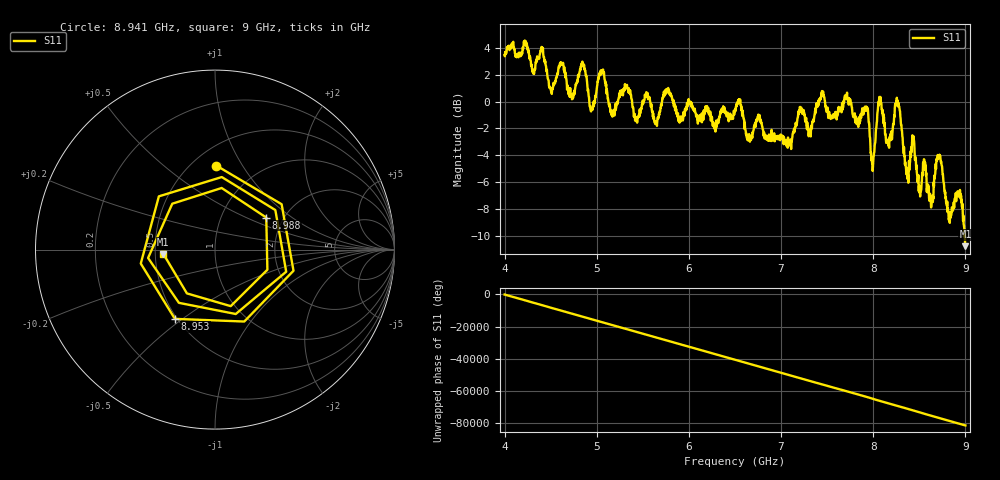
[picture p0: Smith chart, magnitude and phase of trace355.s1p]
! Created with skrf 1.8.0 (http://scikit-rf.org).
# Hz S RI R 50.0
!freq ReS11 ImS11
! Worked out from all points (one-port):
!   1601 points, 4 GHz to 9 GHz, reference 50 ohm
!   lowest |S11| = -10.8 dB at 9 GHz (marker M1), VSWR 1.81, Z = 27.6 - j1.44 ohm
!   |S11| at or under -10 dB: 8.99055 GHz to 8.991751 GHz (1.201 MHz wide, 0.0134 % of centre); 8.994832 GHz to end of sweep
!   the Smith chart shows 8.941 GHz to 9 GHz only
!   S11 on the Smith chart (normalised r, x): 8.941 GHz: 0.65, +0.78; 8.953 GHz: 0.49, -0.47; 8.988 GHz: 1.63, +0.66; 9 GHz: 0.55, -0.03
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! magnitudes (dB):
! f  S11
! 4 GHz  3.5
! 4.403 GHz  4.0
! 4.506 GHz  0.8
! 4.625 GHz  2.8
! 4.731 GHz  0.2
! 4.853 GHz  2.8
! 4.944 GHz  -0.5
! 5.05 GHz  2.1
! 5.169 GHz  -1.1
! 5.25 GHz  0.3
! 5.875 GHz  -1.1
! 6.5 GHz  -0.7
! 7.125 GHz  -2.5
! 7.75 GHz  0.2
! 7.925 GHz  -0.4
! 7.994 GHz  -5.2
! 8.069 GHz  0.1
! 8.159 GHz  -3.0
! 8.262 GHz  0.1
! 8.375 GHz  -5.6
! 8.438 GHz  -2.6
! 8.628 GHz  -7.9
! 8.712 GHz  -4.0
! 8.825 GHz  -8.7
! 8.941 GHz  -6.6
! 8.953 GHz  -7.0
! 8.988 GHz  -9.5
! 9 GHz  -10.8
